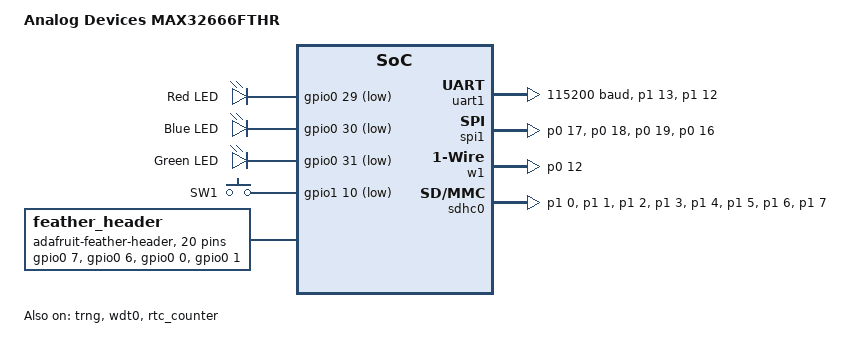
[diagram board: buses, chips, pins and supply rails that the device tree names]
/*
 * Copyright (c) 2023-2024 Analog Devices, Inc.
 *
 * SPDX-License-Identifier: Apache-2.0
 */

/dts-v1/;

#include <adi/max32/max32666.dtsi>
#include <adi/max32/max32666-pinctrl.dtsi>
#include <zephyr/dt-bindings/gpio/adi-max32-gpio.h>
#include <zephyr/dt-bindings/input/input-event-codes.h>

/ {
	model = "Analog Devices MAX32666FTHR";
	compatible = "adi,max32666fthr";

	chosen {
		zephyr,console = &uart1;
		zephyr,shell-uart = &uart1;
		zephyr,sram = &sram4;
		zephyr,flash = &flash0;
	};

	leds {
		compatible = "gpio-leds";

		led1: led_1 {
			gpios = <&gpio0 29 GPIO_ACTIVE_LOW>;
			label = "Red LED";
		};

		led2: led_2 {
			gpios = <&gpio0 30 GPIO_ACTIVE_LOW>;
			label = "Blue LED";
		};

		led3: led_3 {
			gpios = <&gpio0 31 GPIO_ACTIVE_LOW>;
			label = "Green LED";
		};
	};

	buttons {
		compatible = "gpio-keys";

		pb1: pb1 {
			gpios = <&gpio1 10 (GPIO_PULL_UP | GPIO_ACTIVE_LOW)>;
			label = "SW1";
			zephyr,code = <INPUT_KEY_0>;
		};
	};

	/* These aliases are provided for compatibility with samples */
	aliases {
		led0 = &led1;
		led1 = &led2;
		led2 = &led3;
		sw0 = &pb1;
		watchdog0 = &wdt0;
		sdhc0 = &sdhc0;
	};

	/* Used for accessing other pins */
	feather_header: feather_connector {
		compatible = "adafruit-feather-header";
		#gpio-cells = <2>;
		gpio-map-mask = <0xffffffff 0xffffffc0>;
		gpio-map-pass-thru = <0 0x3f>;
		gpio-map = <12 0 &gpio0 7 0>,  /* SDA */
			   <13 0 &gpio0 6 0>,  /* SCL */
			   <14 0 &gpio0 0 0>,  /* GPIO */
			   <15 0 &gpio0 1 0>,  /* GPIO */
			   <16 0 &gpio0 2 0>,   /* GPIO */
			   <17 0 &gpio0 4 0>,   /* GPIO */
			   <18 0 &gpio0 5 0>,   /* GPIO */
			   <19 0 &gpio0 3 0>,   /* GPIO */
			   <20 0 &gpio0 12 0>,   /* OWM */
			   /* 11 not connected */
			   <10 0 &gpio0 9 0>,  /* TX */
			   <9 0 &gpio0 10 0>,   /* RX */
			   <8 0 &gpio0 26 0>,   /* MISO */
			   <7 0 &gpio0 25 0>,   /* MOSI */
			   <6 0 &gpio0 27 0>,   /* SCK */
			   <5 0 &gpio0 21 0>,   /* AIN5 */
			   <4 0 &gpio0 20 0>,   /* AIN4 */
			   <3 0 &gpio0 19 0>,   /* AIN3 */
			   <2 0 &gpio0 18 0>,   /* AIN2 */
			   <1 0 &gpio0 17 0>,   /* AIN1 */
			   <0 0 &gpio0 16 0>;   /* AIN0 */
	};
};

&uart1 {
	pinctrl-0 = <&uart1_tx_p1_13 &uart1_rx_p1_12>;
	pinctrl-names = "default";
	current-speed = <115200>;
	data-bits = <8>;
	parity = "none";
	status = "okay";
};

&clk_ipo {
	status = "okay";
};

&dma0 {
	status = "okay";
};

&gpio0 {
	status = "okay";
};

&gpio1 {
	status = "okay";
};

&trng {
	status = "okay";
};

&wdt0 {
	status = "okay";
};

&rtc_counter {
	status = "okay";
};

&spi1 {
	status = "okay";
	pinctrl-0 = <&spi1_mosi_p0_17 &spi1_miso_p0_18 &spi1_sck_p0_19 &spi1_ss0_p0_16>;
	pinctrl-names = "default";
};

&w1 {
	pinctrl-0 = <&owm_io_p0_12>;
	pinctrl-names = "default";
};

&sdhc0 {
	pinctrl-0 = <&sdhc_dat3_p1_0 &sdhc_cmd_p1_1 &sdhc_dat0_p1_2 &sdhc_clk_p1_3
		     &sdhc_dat1_p1_4 &sdhc_dat2_p1_5 &sdhc_wp_p1_6 &sdhc_cdn_p1_7>;
	pinctrl-names = "default";
};

&sdhc_dat3_p1_0 {
	power-source = <MAX32_VSEL_VDDIO>;
	drive-strength = <1>;
};

&sdhc_cmd_p1_1 {
	power-source = <MAX32_VSEL_VDDIO>;
	drive-strength = <1>;
};

&sdhc_dat0_p1_2 {
	power-source = <MAX32_VSEL_VDDIOH>;
	drive-strength = <1>;
};

&sdhc_clk_p1_3 {
	power-source = <MAX32_VSEL_VDDIOH>;
	drive-strength = <1>;
};

&sdhc_dat1_p1_4 {
	power-source = <MAX32_VSEL_VDDIOH>;
	drive-strength = <1>;
};

&sdhc_dat2_p1_5 {
	power-source = <MAX32_VSEL_VDDIOH>;
	drive-strength = <1>;
};

&sdhc_wp_p1_6 {
	power-source = <MAX32_VSEL_VDDIOH>;
	drive-strength = <1>;
};

&sdhc_cdn_p1_7 {
	power-source = <MAX32_VSEL_VDDIOH>;
	drive-strength = <1>;
};

&sdhc0 {
	status = "okay";

	mmc {
		status = "okay";
	};
};
